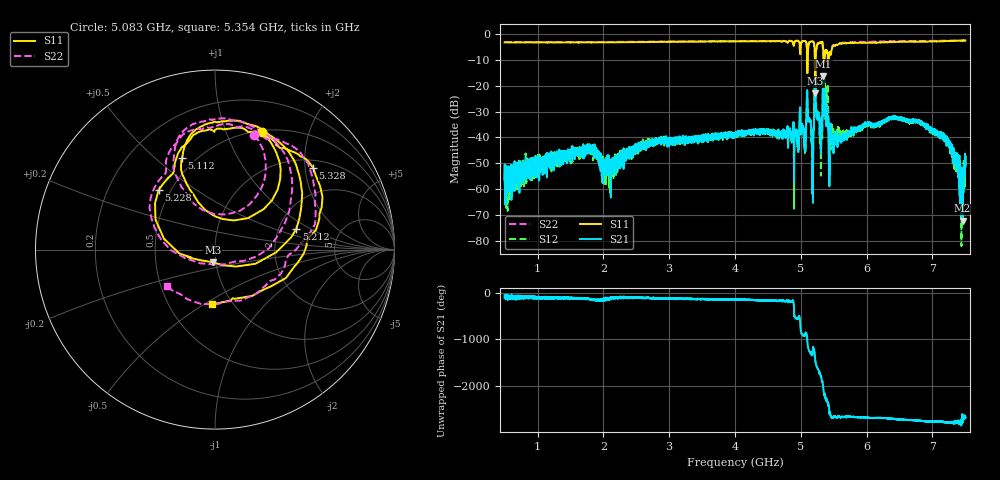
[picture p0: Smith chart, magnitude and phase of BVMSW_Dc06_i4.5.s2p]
!Keysight Technologies,M9374A,MY55442783,A.12.55.05
!Date: Friday, May 21, 2021 09:58:18
!Correction: S11(Full 2 Port(1,2))
!S21(Full 2 Port(1,2))
!S12(Full 2 Port(1,2))
!S22(Full 2 Port(1,2))
!S2P File: Measurements: S11, S21, S12, S22:
# Hz S  RI  R 50
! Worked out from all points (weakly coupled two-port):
!   7001 points, 500 MHz to 7.5 GHz, reference 50 ohm
!   highest |S21| = -16.36 dB at 5.343 GHz (marker M1); lowest = -72.3 dB at 7.457 GHz (marker M2)
!   lowest |S11| = -22.9 dB at 5.219 GHz (marker M3), VSWR 1.15, Z = 48.3 - j6.85 ohm
!   |S11| at or under -10 dB: 5.096329 GHz to 5.103755 GHz (7.426 MHz wide, 0.146 % of centre); 5.215212 GHz to 5.22534 GHz (10.13 MHz wide, 0.194 % of centre); 5.347771 GHz to 5.356053 GHz (8.282 MHz wide, 0.155 % of centre) (the widest 3 of 4)
!   |S22| runs from -21.4 to -2.4 dB; largest |S21 - S12| = 0.12
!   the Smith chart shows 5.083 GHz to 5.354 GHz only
!   S11 on the Smith chart (normalised r, x): 5.083 GHz: 0.52, +1.34; 5.112 GHz: 0.42, +0.62; 5.212 GHz: 2.50, +0.73; 5.228 GHz: 0.43, +0.36; 5.328 GHz: 1.19, +2.20; 5.354 GHz: 0.81, -0.54
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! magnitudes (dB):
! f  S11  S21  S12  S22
! 500 MHz  -3.2  -56.2  -56.4  -3.0
! 1.667 GHz  -3.2  -46.7  -47.3  -3.1
! 2.116 GHz  -3.1  -53.3  -50.9  -3.0
! 2.834 GHz  -3.0  -40.6  -41.4  -2.9
! 4 GHz  -2.8  -38.6  -39.2  -2.7
! 4.929 GHz  -2.6  -38.1  -36.9  -2.6
! 5.083 GHz  -3.1  -34.1  -33.8  -3.4
! 5.112 GHz  -5.3  -33.5  -33.6  -4.3
! 5.167 GHz  -2.7  -40.4  -41.9  -2.7
! 5.212 GHz  -6.6  -18.8  -18.6  -10.5
! 5.219 GHz  -22.9  -18.3  -18.2  -15.3
! 5.228 GHz  -6.8  -28.7  -28.1  -6.1
! 5.292 GHz  -3.2  -36.9  -40.9  -3.1
! 5.328 GHz  -2.9  -32.1  -30.8  -3.4
! 5.343 GHz  -6.9  -16.4  -15.7  -8.6
! 5.354 GHz  -10.3  -22.0  -16.7  -9.5
! 5.38 GHz  -6.7  -25.7  -22.1  -6.4
! 5.458 GHz  -7.5  -39.5  -38.7  -6.5
! 6.334 GHz  -3.1  -32.1  -33.2  -2.7
! 7.16 GHz  -2.7  -39.0  -40.0  -2.5
! 7.457 GHz  -2.5  -72.3  -57.1  -2.5
! 7.5 GHz  -2.4  -50.2  -50.3  -2.5
